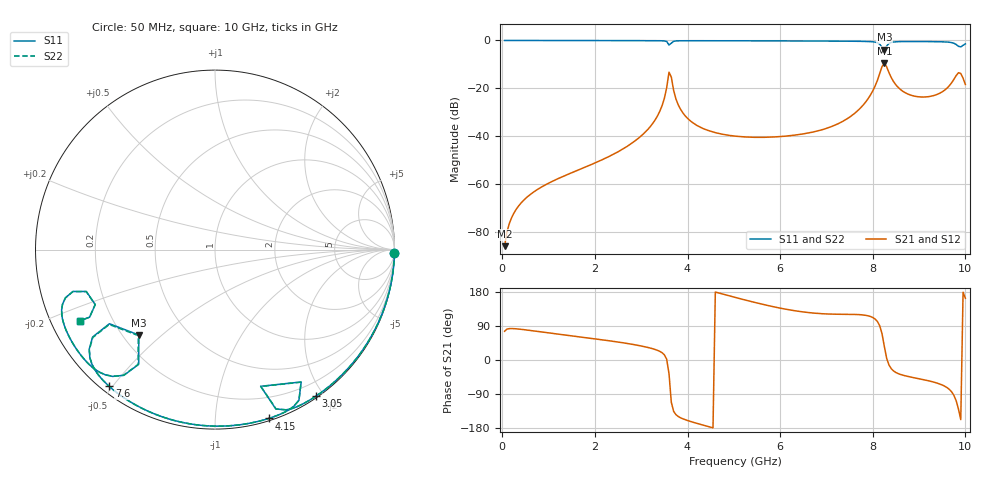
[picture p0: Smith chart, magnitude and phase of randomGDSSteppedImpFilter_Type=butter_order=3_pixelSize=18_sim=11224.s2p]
! freq	dB(S11)	phase(S11)	dB(S12)	phase(S12)
!  dB(S21)	phase(S21)	dB(S22)	phase(S22)
!S-par simulation data
#  GHz  S  DB  R 50
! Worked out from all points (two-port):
!   200 points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, 50 MHz to 10 GHz, reference 50 ohm
!   highest |S21| = -9.52 dB at 8.25 GHz (marker M1); lowest = -86.0 dB at 50 MHz (marker M2)
!   |S21| within 3 dB of the highest: 8.173 GHz to 8.331 GHz (157.7 MHz wide, 1.91 % of centre)
!   lowest |S11| = -3.9 dB at 8.25 GHz (marker M3), VSWR 4.52, Z = 13.2 - j21.1 ohm
!   |S11| at or under -10 dB: nowhere
!   |S22| runs from -3.8 to 0.0 dB; largest |S21 - S12| = 0
!   S11 on the Smith chart (normalised r, x): 50 MHz: open; 3.05 GHz: 0.02, -1.90; 4.15 GHz: 0.02, -1.37; 7.6 GHz: 0.02, -0.49; 10 GHz: 0.09, -0.25
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0.05  -0.00 -0.9  -86.03 75.9  -86.03 75.9  -0.00 -0.9
0.55  -0.01 -10.3  -65.26 78.8  -65.26 78.8  -0.01 -10.3
1.75  -0.04 -32.2  -53.30 59.7  -53.30 59.7  -0.04 -32.2
3.05  -0.08 -55.6  -39.02 35.7  -39.02 35.7  -0.08 -55.5
3.4  -0.12 -62.8  -29.66 22.9  -29.66 22.9  -0.12 -62.7
3.5  -0.21 -66.1  -24.18 13.6  -24.18 13.6  -0.21 -66.0
3.6  -1.91 -71.5  -13.26 -36.3  -13.26 -36.3  -1.89 -71.4
3.65  -1.11 -56.9  -15.35 -111.7  -15.35 -111.7  -1.10 -57.0
3.8  -0.15 -65.0  -26.97 -149.1  -26.97 -149.1  -0.15 -65.0
4.15  -0.11 -72.3  -34.89 -165.4  -34.89 -165.4  -0.11 -72.3
5.05  -0.14 -87.3  -40.05 164.5  -40.05 164.5  -0.14 -87.3
6.7  -0.23 -113.1  -38.34 124.0  -38.34 124.0  -0.23 -113.0
7.6  -0.33 -127.8  -30.62 120.3  -30.62 120.3  -0.32 -127.7
7.9  -0.45 -134.1  -24.32 116.5  -24.32 116.5  -0.44 -134.0
8.1  -0.97 -141.6  -16.69 101.7  -16.69 101.7  -0.96 -141.4
8.25  -3.91 -131.7  -9.52 35.5  -9.52 35.5  -3.85 -131.7
8.35  -1.26 -125.9  -13.45 -13.3  -13.45 -13.3  -1.25 -126.0
8.6  -0.47 -136.1  -20.55 -38.2  -20.55 -38.2  -0.47 -136.2
8.95  -0.44 -143.6  -23.47 -48.2  -23.47 -48.2  -0.44 -143.6
9.5  -0.57 -154.5  -21.48 -66.0  -21.48 -66.0  -0.57 -154.4
9.85  -2.46 -162.0  -13.49 -129.3  -13.49 -129.3  -2.45 -161.9
10  -1.43 -152.2  -18.42 162.8  -18.42 162.8  -1.42 -152.2
